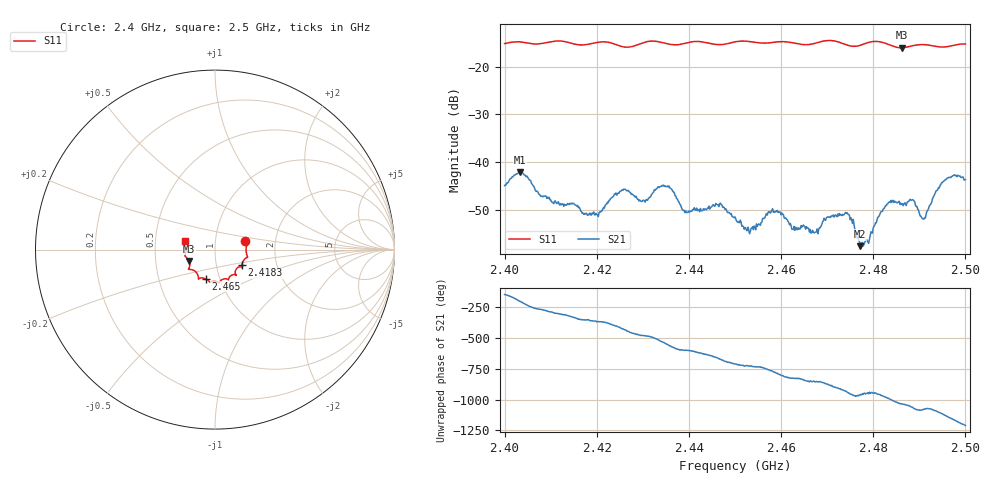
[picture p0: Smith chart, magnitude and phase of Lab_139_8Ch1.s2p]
# Hz S RI R 50
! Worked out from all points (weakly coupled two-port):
!   601 points, 2.4 GHz to 2.5 GHz, reference 50 ohm
!   highest |S21| = -42.15 dB at 2.4033 GHz (marker M1); lowest = -57.7 dB at 2.4772 GHz (marker M2)
!   lowest |S11| = -16.0 dB at 2.4862 GHz (marker M3), VSWR 1.38, Z = 37.1 - j4.83 ohm
!   |S11| at or under -10 dB: start of sweep to end of sweep
!   S12 and S22 are empty: the file has one direction only
!   S11 on the Smith chart (normalised r, x): 2.4 GHz: 1.40, +0.13; 2.4183 GHz: 1.33, -0.24; 2.465 GHz: 0.86, -0.29; 2.5 GHz: 0.71, +0.07
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2.4e9  0.1688 0.0458  -0.00465 -0.0032  0 0  0 0
2.403333e9  0.1798 0.0311  -0.00736 0.00258  0 0  0 0
2.416667e9  0.1548 -0.0683  0.00297 0.000641  0 0  0 0
2.418333e9  0.1498 -0.0869  0.0028 0.000237  0 0  0 0
2.4255e9  0.1297 -0.0982  0.00238 -0.00452  0 0  0 0
2.43e9  0.114 -0.137  -0.00183 -0.00352  0 0  0 0
2.433333e9  0.1165 -0.1412  -0.0049 -0.00249  0 0  0 0
2.439333e9  0.0768 -0.1592  -0.00168 0.00256  0 0  0 0
2.446333e9  0.0498 -0.1634  0.00194 0.00298  0 0  0 0
2.45e9  0.0251 -0.1807  0.00261 0.000514  0 0  0 0
2.453e9  0.0183 -0.1834  0.00189 -0.000197  0 0  0 0
2.458667e9  -0.0221 -0.1799  0.00162 -0.00257  0 0  0 0
2.465e9  -0.0528 -0.162  -0.00111 -0.00182  0 0  0 0
2.466667e9  -0.0714 -0.1575  -0.00121 -0.00136  0 0  0 0
2.474333e9  -0.0972 -0.138  -0.00228 0.00185  0 0  0 0
2.477167e9  -0.1236 -0.1135  -0.0007 0.00111  0 0  0 0
2.483333e9  -0.1419 -0.0957  -7.03e-05 0.00378  0 0  0 0
2.486167e9  -0.1447 -0.0635  0.00249 0.0026  0 0  0 0
2.4885e9  -0.1603 -0.0434  0.00383 0.00125  0 0  0 0
2.490833e9  -0.1672 -0.0338  0.00254 -1.51e-05  0 0  0 0
2.495333e9  -0.1608 0.00861  0.00473 -0.00419  0 0  0 0
2.5e9  -0.1666 0.047  -0.00415 -0.00505  0 0  0 0
